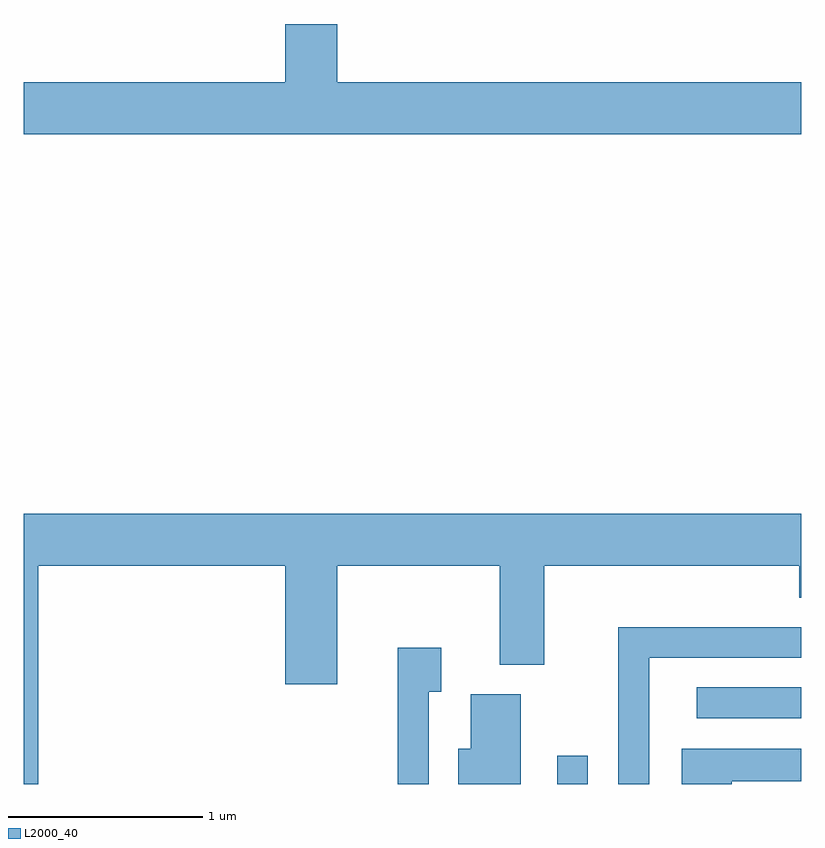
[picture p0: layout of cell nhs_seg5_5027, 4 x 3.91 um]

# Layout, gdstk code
import gdstk
lib = gdstk.Library(unit=1e-6, precision=1e-09)
def R(c, l, rs):  # rectangles x0, y0, x1, y1
    for r in rs: c.add(gdstk.rectangle(r[:2], r[2:], *l))
def P(c, l, *ps):  # polygons
    for p in ps: c.add(gdstk.Polygon(p, *l))
L2000_40 = (2000, 40)

nhs_seg5_5027 = lib.new_cell('nhs_seg5_5027')
R(nhs_seg5_5027, L2000_40, [(336.356,1500.072,336.514,1500.218), (337.073,1500.411,337.611,1500.569)])
P(nhs_seg5_5027, L2000_40, [(337.611,1503.684),(335.224,1503.684),(335.224,1503.984),(334.956,1503.984),(334.956,1503.684),(333.611,1503.684),(333.611,1503.416),(337.611,1503.416)],
  [(333.684,1501.196),(334.956,1501.196),(334.956,1500.586),(335.224,1500.586),(335.224,1501.196),(336.061,1501.196),(336.061,1500.686),(336.289,1500.686),(336.289,1501.196),(337.601,1501.196),(337.601,1501.031),(337.611,1501.031),(337.611,1501.464),(333.611,1501.464),(333.611,1500.072),(333.684,1500.072)],
  [(336.829,1500.721),(337.611,1500.721),(337.611,1500.879),(336.671,1500.879),(336.671,1500.072),(336.829,1500.072)],
  [(335.694,1500.546),(335.759,1500.546),(335.759,1500.774),(335.536,1500.774),(335.536,1500.072),(335.694,1500.072)],
  [(336.169,1500.534),(335.911,1500.534),(335.911,1500.254),(335.846,1500.254),(335.846,1500.072),(336.169,1500.072)],
  [(337.254,1500.086),(337.611,1500.086),(337.611,1500.254),(336.996,1500.254),(336.996,1500.072),(337.254,1500.072)])

lib.write_gds('nhs_seg5_5027.gds')
